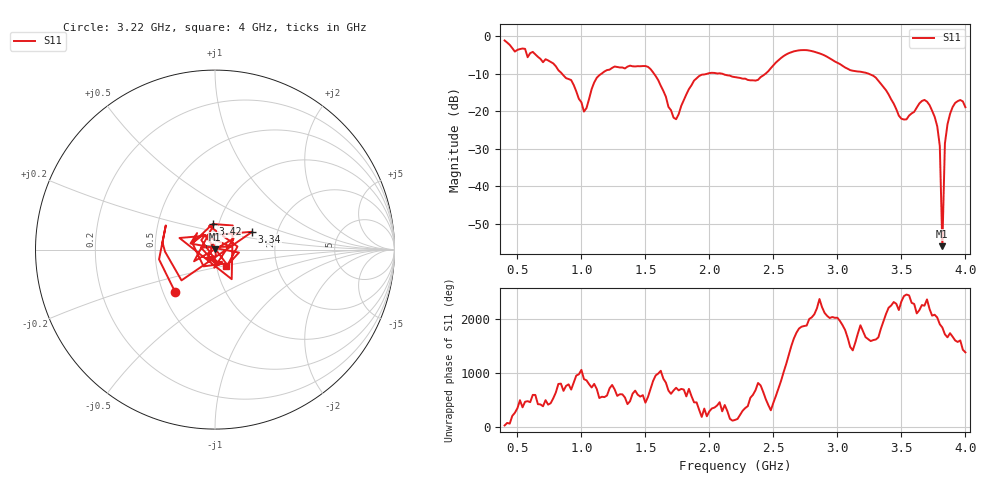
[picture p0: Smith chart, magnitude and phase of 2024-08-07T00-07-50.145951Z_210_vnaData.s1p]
!Created with skrf (http://scikit-rf.org).
# Hz S RI R 50.0
!freq ReS11 ImS11
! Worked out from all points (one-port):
!   181 points, 400 MHz to 4 GHz, reference 50 ohm
!   lowest |S11| = -55.9 dB at 3.82 GHz (marker M1), VSWR 1.00, Z = 50.1 + j0.115 ohm
!   |S11| at or under -10 dB: 1.566 GHz to 1.989 GHz (422.4 MHz wide, 23.8 % of centre); 2.091 GHz to 2.44 GHz (349.4 MHz wide, 15.4 % of centre); 3.24 GHz to end of sweep (the widest 3 of 4)
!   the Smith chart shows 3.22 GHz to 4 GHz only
!   S11 on the Smith chart (normalised r, x): 3.22 GHz: 0.58, -0.30; 3.34 GHz: 1.49, +0.31; 3.42 GHz: 0.94, +0.27; 4 GHz: 1.11, -0.21
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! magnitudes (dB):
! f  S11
! 400 MHz  -1.2
! 860 MHz  -10.5
! 920 MHz  -11.8
! 1.02 GHz  -20.1
! 1.12 GHz  -11.1
! 1.3 GHz  -8.4
! 1.52 GHz  -8.2
! 1.6 GHz  -11.8
! 1.72 GHz  -21.7
! 1.76 GHz  -20.8
! 1.92 GHz  -10.7
! 2.2 GHz  -11.0
! 2.38 GHz  -11.7
! 2.66 GHz  -4.1
! 3.1 GHz  -9.1
! 3.22 GHz  -9.8
! 3.34 GHz  -12.8
! 3.42 GHz  -16.9
! 3.5 GHz  -22.0
! 3.56 GHz  -21.2
! 3.68 GHz  -17.0
! 3.78 GHz  -24.0
! 3.8 GHz  -29.2
! 3.82 GHz  -55.9
! 3.84 GHz  -28.6
! 3.86 GHz  -23.5
! 3.92 GHz  -17.8
! 4 GHz  -19.0
